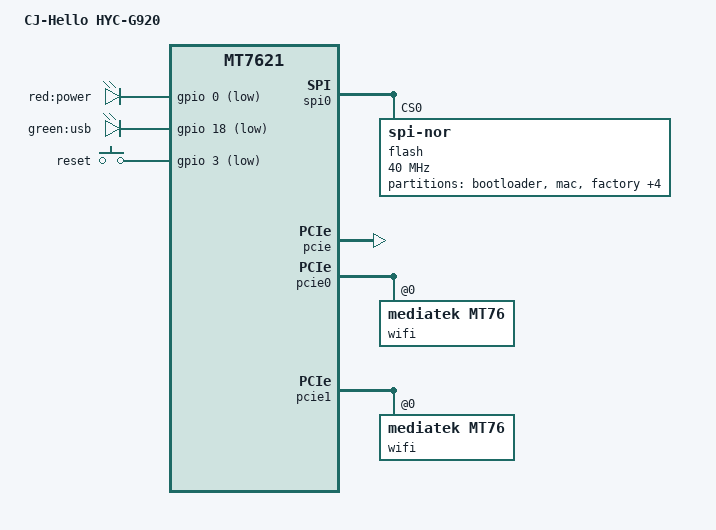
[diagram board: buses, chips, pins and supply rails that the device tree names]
// SPDX-License-Identifier: GPL-2.0-or-later OR MIT

#include "mt7621.dtsi"

#include <dt-bindings/gpio/gpio.h>
#include <dt-bindings/input/input.h>

/ {
	compatible = "hanyang,hyc-g920", "mediatek,mt7621-soc";
	model = "CJ-Hello HYC-G920";

	aliases {
		led-boot = &led_power;
		led-failsafe = &led_power;
		led-running = &led_power;
		led-upgrade = &led_power;
	};

	chosen {
		bootargs = "console=ttyS0,115200";
		bootargs-override = "console=ttyS0,115200";
	};
	
	leds {
		compatible = "gpio-leds";

		led_power: power {
			label = "red:power";
			gpios = <&gpio 0 GPIO_ACTIVE_LOW>;
		};

		usb {
			label = "green:usb";
			gpios = <&gpio 18 GPIO_ACTIVE_LOW>;
			trigger-sources = <&ehci_port2>;
			linux,default-trigger = "usbport";
		};
	};

	keys {
		compatible = "gpio-keys";

		reset {
			label = "reset";
			gpios = <&gpio 3 GPIO_ACTIVE_LOW>;
			linux,code = <KEY_RESTART>;
			debounce-interval = <60>;
		};
	};
};

&spi0 {
	status = "okay";

	flash@0 {
		compatible = "jedec,spi-nor";
		reg = <0>;
		spi-max-frequency = <40000000>;

		partitions {
			compatible = "fixed-partitions";
			#address-cells = <1>;
			#size-cells = <1>;

			partition@0 {
				label = "bootloader";
				reg = <0x0 0x30000>;
				read-only;
			};

			partition@30000 {
				label = "mac";
				reg = <0x30000 0x10000>;
				read-only;
			};

			factory: partition@40000 {
				label = "factory";
				reg = <0x40000 0x10000>;
				read-only;
			};

			partition@50000 {
				compatible = "denx,uimage";
				label = "firmware";
				reg = <0x50000 0xfb0000>;
			};

			partition@fb0000 {
				label = "config ";
				reg = <0xfb0000 0x20000>;
				read-only;
			};

			partition@fd0000 {
				label = "config_bak ";
				reg = <0xfd0000 0x20000>;
				read-only;
			};

			partition@ff0000 {
				label = "mac_bak ";
				reg = <0xff0000 0x10000>;
				read-only;
			};
		};
	};
};

&pcie {
	status = "okay";
};

&pcie0 {
	wifi@0,0 {
		compatible = "mediatek,mt76";
		reg = <0x0000 0 0 0 0>;
		mediatek,mtd-eeprom = <&factory 0x8000>;

		led {
			led-sources = <2>;
			led-active-low;
		};
	};
};

&pcie1 {
	wifi@0,0 {
		compatible = "mediatek,mt76";
		reg = <0x0000 0 0 0 0>;
		mediatek,mtd-eeprom = <&factory 0x0000>;

		led {
			led-sources = <2>;
			led-active-low;
		};
	};
};

&gmac0 {
	nvmem-cells = <&macaddr_factory_4>;
	nvmem-cell-names = "mac-address";
};

&switch0 {
	ports {
		port@0 {
			status = "okay";
			label = "wan";
			nvmem-cells = <&macaddr_factory_4>;
			nvmem-cell-names = "mac-address";
			mac-address-increment = <1>;
		};

		port@1 {
			status = "okay";
			label = "lan1";
		};

		port@2 {
			status = "okay";
			label = "lan2";
		};

		port@3 {
			status = "okay";
			label = "lan3";
		};

		port@4 {
			status = "okay";
			label = "lan4";
		};
	};
};

&state_default {
	gpio {
		groups = "sdhci";
		function = "gpio";
	};
};
	
&factory {
	compatible = "nvmem-cells";
	#address-cells = <1>;
	#size-cells = <1>;

	macaddr_factory_4: macaddr@4 {
		reg = <0x4 0x6>;
	};

	macaddr_factory_8004: macaddr@8004 {
		reg = <0x8004 0x6>;
	};
};
